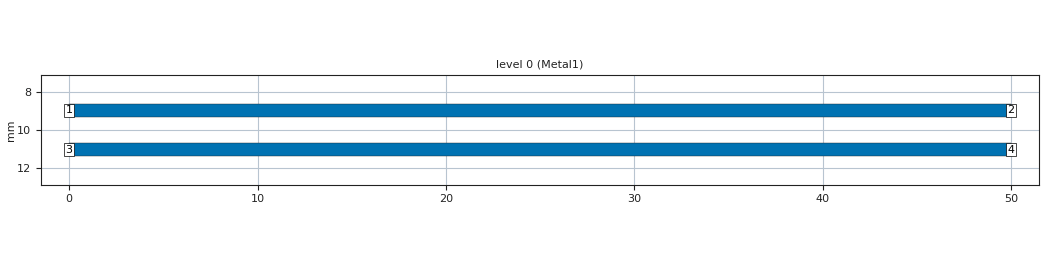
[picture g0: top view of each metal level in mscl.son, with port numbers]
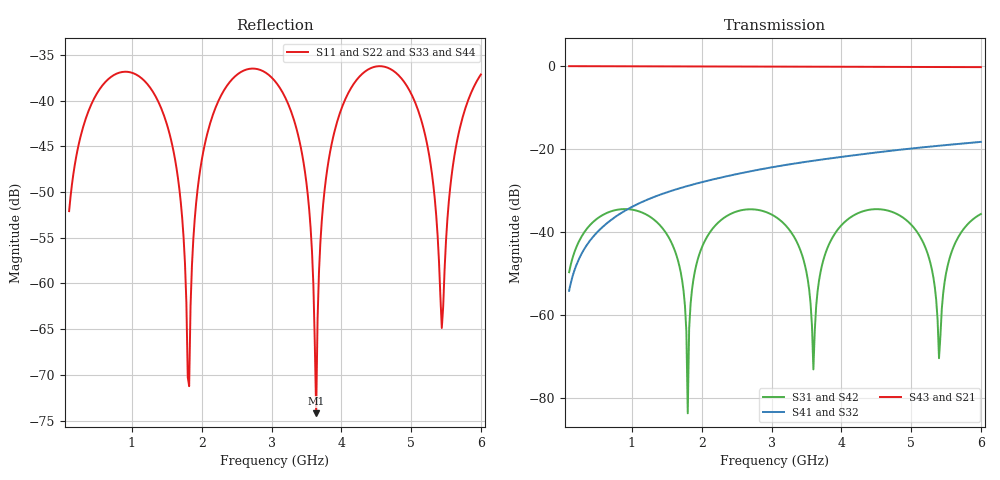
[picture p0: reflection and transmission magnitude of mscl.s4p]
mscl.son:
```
FTYP SONPROJ 19 ! Sonnet Project File
VER 18.53
HEADER
LIC SL63cb3875
DAT 09/16/2023 12:17:27
BUILT_BY_CREATED xgeom 18.53-Lite 09/16/2023 12:12:36
BUILT_BY_SAVED sonnet 18.53-Lite
MDATE 09/16/2023 12:15:31
HDATE 09/16/2023 12:15:31
END HEADER
DIM
ANG DEG
CAP PF
CON /OH
FREQ GHZ
IND NH
LNG MM
RES OH
END DIM
CONTROL
VARSWP
OPTIONS  -d
SPEED 0
CACHE_ABS 2
Q_ACC N
END CONTROL
GEO
TMET "Free Space" 0 FREESPACE 376.7303136 0 0 0
BMET "Lossless" 0 SUP 0 0 0 0
BOX 1 50 20 1000 400 20 0
      10 1 1 0 0 0 0 "Air"
      0.3 3.6 1 0.004 0 0 0 "R-5775KH"
TECHLAY METAL Metal1 <UNSPECIFIED> -2 -65534 
0 0 -1 N 9 1 1 100 100 0 0 0 Y
END
END
LORGN 0 20 U 
POR1 BOX
POLY 23 1
3
1 50 0 0 0 2.143131899e-17 8.95 
POR1 BOX
POLY 23 1
1
2 50 0 0 0 50 8.95 
POR1 BOX
POLY 24 1
3
3 50 0 0 0 0 11.05 
POR1 BOX
POLY 24 1
1
4 50 0 0 0 50 11.05 
NUM 2
0 5 -1 N 23 1 1 100 100 0 0 0 Y
TLAYNAM Metal1 INH
0 8.6
50 8.6
50 9.3
4.286263797e-17 9.3
0 8.6
END
0 5 -1 N 24 1 1 100 100 0 0 0 Y
TLAYNAM Metal1 INH
0 10.7
50 10.7
50 11.4
0 11.4
0 10.7
END
END GEO
OPT
MAX 100
END OPT
VARSWP
ENABLED Y
FREQ Y AY ABS_ENTRY 0.1 6.0 -1 300 
END
END VARSWP
```
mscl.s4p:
! Sonnet Data File
! From: sonnet Version : 18.53-Lite
! From Emgraph Data:
! Data File Written: 09/16/2023 12:18:17
!< HDATE 09/16/2023 12:15:31
!< MDATE 09/16/2023 12:15:31
# GHZ S MA R 50.00000
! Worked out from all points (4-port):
!   296 points, 100 MHz to 6 GHz, reference 50 ohm
!   strongest paths, dB at 100 MHz, 1.58 GHz, 3.06 GHz, 4.54 GHz, 6 GHz:
!     S43: 0.0, 0.0, -0.1, -0.2, -0.2
!     S21: 0.0, 0.0, -0.1, -0.2, -0.2
!     S41: -54.1, -30.0, -24.2, -20.7, -18.2
!     S32: -54.1, -30.0, -24.2, -20.7, -18.2
!     S31: -49.6, -43.0, -36.3, -34.5, -35.6
!     S42: -49.6, -43.0, -36.3, -34.5, -35.7
!   lowest |S11| = -74.2 dB at 3.64 GHz (marker M1), VSWR 1.00, Z = 50 - j0.00604 ohm
!   |S11| at or under -10 dB: start of sweep to end of sweep
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0.1  0.002487 -107.2  0.9997 -10.1  0.003296 80.0  0.001968 -99.9
     0.9997 -10.1  0.002487 -107.2  0.001968 -99.9  0.003296 80.0
     0.003296 80.0  0.001968 -99.9  0.002487 -107.2  0.9997 -10.1
     0.001968 -99.9  0.003296 80.0  0.9997 -10.1  0.002487 -107.2
3.64  0.0001948 -161.9  0.9856 -7.3  0.001287 75.7  0.07337 -97.8
      0.9856 -7.3  0.0002683 -169.4  0.07337 -97.8  0.001293 75.9
      0.001287 75.7  0.07337 -97.8  0.0001948 -161.9  0.9856 -7.3
      0.07337 -97.8  0.001293 75.9  0.9856 -7.3  0.0002683 -169.4
6  0.01391 -154.7  0.9732 114.8  0.01656 30.3  0.1224 24.6
   0.9732 114.8  0.01393 -152.5  0.1224 24.6  0.01649 30.2
   0.01656 30.3  0.1224 24.6  0.01391 -154.7  0.9732 114.8
   0.1224 24.6  0.01649 30.2  0.9732 114.8  0.01393 -152.5
